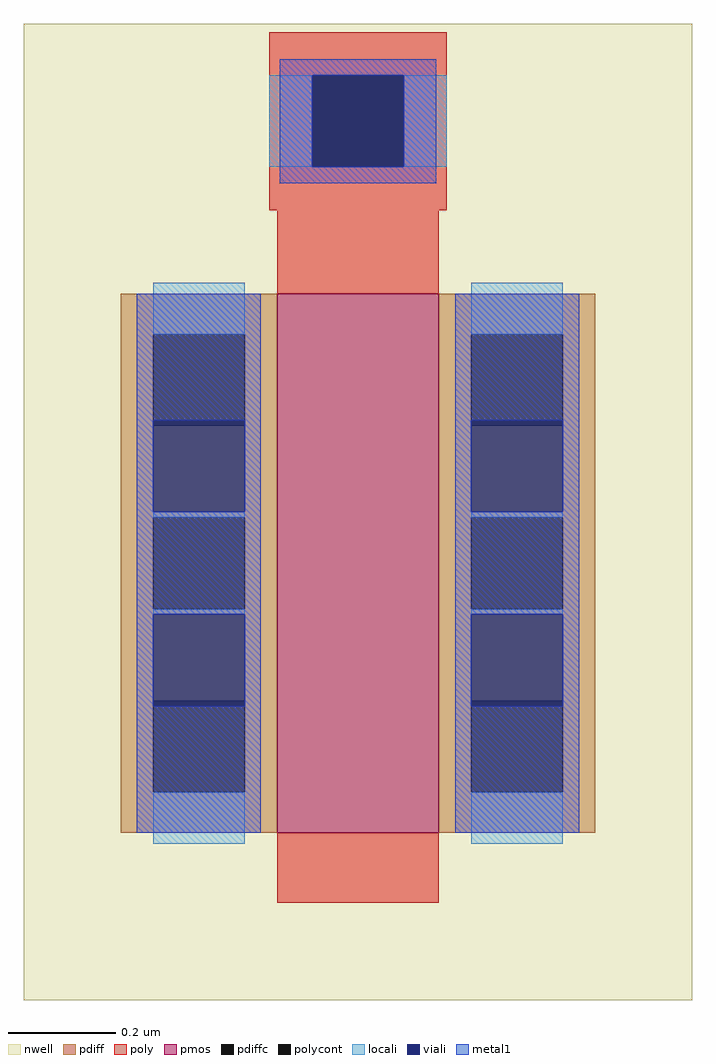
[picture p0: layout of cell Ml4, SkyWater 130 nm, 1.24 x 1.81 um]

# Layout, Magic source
magic
tech sky130B
magscale 1 2
<< nwell >>
rect -124 -238 124 124
<< pmos >>
rect -30 -176 30 24
<< pdiff >>
rect -88 9 -30 24
rect -88 -25 -76 9
rect -42 -25 -30 9
rect -88 -59 -30 -25
rect -88 -93 -76 -59
rect -42 -93 -30 -59
rect -88 -127 -30 -93
rect -88 -161 -76 -127
rect -42 -161 -30 -127
rect -88 -176 -30 -161
rect 30 9 88 24
rect 30 -25 42 9
rect 76 -25 88 9
rect 30 -59 88 -25
rect 30 -93 42 -59
rect 76 -93 88 -59
rect 30 -127 88 -93
rect 30 -161 42 -127
rect 76 -161 88 -127
rect 30 -176 88 -161
<< pdiffc >>
rect -76 -25 -42 9
rect -76 -93 -42 -59
rect -76 -161 -42 -127
rect 42 -25 76 9
rect 42 -93 76 -59
rect 42 -161 76 -127
<< poly >>
rect -33 105 33 121
rect -33 71 -17 105
rect 17 71 33 105
rect -33 55 33 71
rect -30 24 30 55
rect -30 -202 30 -176
<< polycont >>
rect -17 71 17 105
<< locali >>
rect -33 71 -17 105
rect 17 71 33 105
rect -76 9 -42 28
rect -76 -59 -42 -57
rect -76 -95 -42 -93
rect -76 -180 -42 -161
rect 42 9 76 28
rect 42 -59 76 -57
rect 42 -95 76 -93
rect 42 -180 76 -161
<< viali >>
rect -17 71 17 105
rect -76 -25 -42 -23
rect -76 -57 -42 -25
rect -76 -127 -42 -95
rect -76 -129 -42 -127
rect 42 -25 76 -23
rect 42 -57 76 -25
rect 42 -127 76 -95
rect 42 -129 76 -127
<< metal1 >>
rect -29 105 29 111
rect -29 71 -17 105
rect 17 71 29 105
rect -29 65 29 71
rect -82 -23 -36 24
rect -82 -57 -76 -23
rect -42 -57 -36 -23
rect -82 -95 -36 -57
rect -82 -129 -76 -95
rect -42 -129 -36 -95
rect -82 -176 -36 -129
rect 36 -23 82 24
rect 36 -57 42 -23
rect 76 -57 82 -23
rect 36 -95 82 -57
rect 36 -129 42 -95
rect 76 -129 82 -95
rect 36 -176 82 -129
<< end >>
